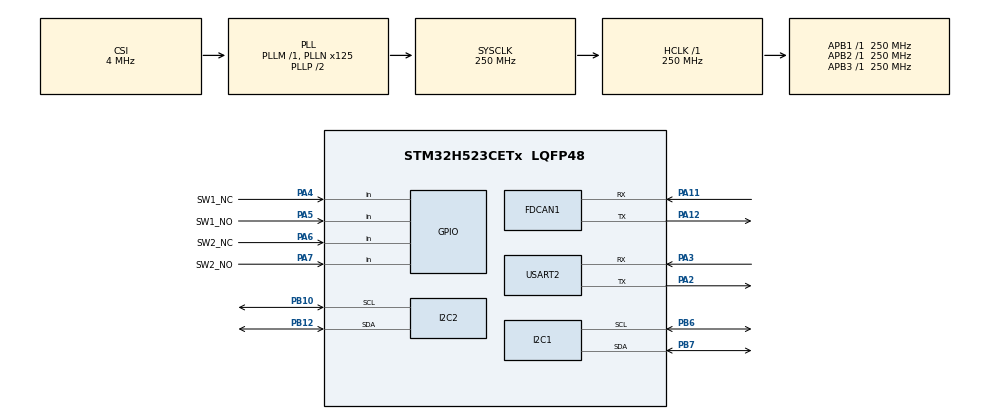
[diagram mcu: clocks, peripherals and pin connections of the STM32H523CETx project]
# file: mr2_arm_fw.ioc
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BOOTPATH.BootPathName=LEGACY
BOOTPATH.UserSelectedBootPath=LEGACY
CORTEX_M33_NS.userName=CORTEX_M33
FDCAN1.AutoRetransmission=ENABLE
FDCAN1.CalculateBaudRateNominal=1000000
FDCAN1.CalculateTimeBitNominal=1000
FDCAN1.CalculateTimeQuantumNominal=20.0
FDCAN1.NominalPrescaler=5
FDCAN1.NominalTimeSeg1=43
FDCAN1.NominalTimeSeg2=6
FDCAN1.TransmitPause=DISABLE
I2C1.Timing=0x60808CD3
I2C2.Timing=0x60808CD3
Mcu.Family=STM32H5
Mcu.Name=STM32H523CETx
Mcu.Package=LQFP48
NVIC.PriorityGroup=NVIC_PRIORITYGROUP_4
NVIC.TIM1_UP_IRQn=true\:0\:0\:false\:false\:true\:true\:true\:true
NVIC.TIM2_IRQn=true\:0\:0\:false\:false\:true\:true\:true\:true
PA11.Mode=FDCAN_Activate
PA11.Signal=FDCAN1_RX
PA12.Mode=FDCAN_Activate
PA12.Signal=FDCAN1_TX
PA13(JTMS/SWDIO).Mode=Trace_Asynchronous_SW
PA13(JTMS/SWDIO).Signal=DEBUG_JTMS-SWDIO
PA14(JTCK/SWCLK).Mode=Trace_Asynchronous_SW
PA14(JTCK/SWCLK).Signal=DEBUG_JTCK-SWCLK
PA2.Mode=Asynchronous
PA2.Signal=USART2_TX
PA3.Mode=Asynchronous
PA3.Signal=USART2_RX
PA4.GPIO_Label=SW1_NC
PA4.GPIO_PuPd=GPIO_PULLUP
PA4.Signal=GPIO_Input
PA5.GPIO_Label=SW1_NO
PA5.GPIO_PuPd=GPIO_PULLUP
PA5.Signal=GPIO_Input
PA6.GPIO_Label=SW2_NC
PA6.GPIO_PuPd=GPIO_PULLUP
PA6.Signal=GPIO_Input
PA7.GPIO_Label=SW2_NO
PA7.GPIO_PuPd=GPIO_PULLUP
PA7.Signal=GPIO_Input
PB10.GPIO_Pu=GPIO_PULLUP
PB10.Mode=I2C
PB10.Signal=I2C2_SCL
PB12.GPIO_Pu=GPIO_PULLUP
PB12.Mode=I2C
PB12.Signal=I2C2_SDA
PB3(JTDO/TRACESWO).Mode=Trace_Asynchronous_SW
PB3(JTDO/TRACESWO).Signal=DEBUG_JTDO-SWO
PB6.GPIO_Pu=GPIO_PULLUP
PB6.Mode=I2C
PB6.Signal=I2C1_SCL
PB7.GPIO_Pu=GPIO_PULLUP
PB7.Mode=I2C
PB7.Signal=I2C1_SDA
PH0-OSC_IN(PH0).Mode=HSE-External-Oscillator
PH0-OSC_IN(PH0).Signal=RCC_OSC_IN
PH1-OSC_OUT(PH1).Mode=HSE-External-Oscillator
PH1-OSC_OUT(PH1).Signal=RCC_OSC_OUT
ProjectManager.HeapSize=0x200
ProjectManager.StackSize=0x400
ProjectManager.TargetToolchain=CMake
RCC.ADCFreq_Value=250000000
RCC.AHBFreq_Value=250000000
RCC.APB1Freq_Value=250000000
RCC.APB1TimFreq_Value=250000000
RCC.APB2Freq_Value=250000000
RCC.APB2TimFreq_Value=250000000
RCC.APB3Freq_Value=250000000
RCC.CSI_VALUE=4000000
RCC.CodegenConfigPeriph=true
RCC.CortexFreq_Value=250000000
RCC.DATA_CACHE_ENABLE=1
RCC.EPOD_VALUE=4000000
RCC.FDCANClockSelection=RCC_FDCANCLKSOURCE_PLL1Q
RCC.HCLKFreq_Value=250000000
RCC.HSE_VALUE=8000000
RCC.HSI48_VALUE=48000000
RCC.HSI_VALUE=64000000
RCC.INSTRUCTION_CACHE_ENABLE=1
RCC.LSE_Drive_CapabilityArg=+LSE_Drive_Capability
RCC.LSE_VALUE=0
RCC.LSIRC_VALUE=32000
RCC.PLL2FRACN=0
RCC.PLL3FRACN=0
RCC.PLLFRACN=0
RCC.PLLN=125
RCC.PREFETCH_ENABLE=0
RCC.PWREXT_OverDrive=PWREXT_OverDrive_DESACTIVATED
RCC.SYSCLKFreq_VALUE=250000000
RCC.SYSCLKSource=RCC_SYSCLKSOURCE_PLLCLK
RCC.USBFreq_Value=48000000
RCC.VCOOutputFreq_Value=500000000
TIM1.AutoReloadPreload=TIM_AUTORELOAD_PRELOAD_ENABLE
TIM1.PeriodNoDither=999
TIM1.Prescaler=24999
TIM2.PeriodNoDither=999
TIM2.Prescaler=499
USART2.VirtualMode-Asynchronous=VM_ASYNC
VP_BOOTPATH_VS_BOOTPATH.Mode=BP_Activate
VP_CORTEX_M33_NS_VS_Hclk.Mode=Hclk_Mode
VP_ICACHE_VS_ICACHE.Mode=DirectMappedCache
VP_MEMORYMAP_VS_MEMORYMAP.Mode=CurAppReg
VP_PWR_VS_LPOM.Mode=PowerOptimisation
VP_PWR_VS_SECSignals.Mode=Security/Privilege
VP_TIM1_VS_ClockSourceINT.Mode=Internal
VP_TIM2_VS_ClockSourceINT.Mode=Internal
board=custom

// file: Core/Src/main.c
/* USER CODE BEGIN Header */
/**
 ******************************************************************************
 * @file           : main.c
 * @brief          : Main program body
 ******************************************************************************
 * @attention
 *
 * Copyright (c) 2025 STMicroelectronics.
 * All rights reserved.
 *
 * This software is licensed under terms that can be found in the LICENSE file
 * in the root directory of this software component.
 * If no LICENSE file comes with this software, it is provided AS-IS.
 *
 ******************************************************************************
 */
/* USER CODE END Header */
#include "main.h"

/* USER CODE BEGIN Includes */
#include "app_can.h"
#include "app_config.h"
#include "app_encoder.h"
#include "app_limit_switch.h"
#include <stdio.h>
/* USER CODE END Includes */

FDCAN_HandleTypeDef hfdcan1;

I2C_HandleTypeDef hi2c1;
I2C_HandleTypeDef hi2c2;

TIM_HandleTypeDef htim1;
TIM_HandleTypeDef htim2;

UART_HandleTypeDef huart2;

/* USER CODE BEGIN PV */
static AppConfig g_app_config;
/* USER CODE END PV */

void SystemClock_Config(void);
static void MX_GPIO_Init(void);
static void MX_I2C1_Init(void);
static void MX_I2C2_Init(void);
static void MX_ICACHE_Init(void);
static void MX_FDCAN1_Init(void);
static void MX_USART2_UART_Init(void);
static void MX_TIM1_Init(void);
static void MX_TIM2_Init(void);

/* USER CODE BEGIN 0 */
/* Expose a non-generated FDCAN reinit entry point for app_can.c */
void App_FDCAN1_Reinit(void) { MX_FDCAN1_Init(); }
/* USER CODE END 0 */

int main(void) {

  /* MCU Configuration--------------------------------------------------------*/

  /* Reset of all peripherals, Initializes the Flash interface and the Systick.
   */
  HAL_Init();

  /* USER CODE BEGIN Init */

  printf("Starting board!\n");

  /* Populate runtime config (defaults for now; extend to load from NVM or
   * DIP switches as needed). */
  AppConfig_InitDefaults(&g_app_config);
  /* Requested setup: SW1 on ID 204, Encoder1 on ID 205,
   * SW2 on ID 206; Encoder2 left disabled. */
  g_app_config.enable_sw1 = 1u;
  g_app_config.enable_encoder1 = 1u;
  g_app_config.enable_sw2 = 1u;
  g_app_config.enable_encoder2 = 0u;
  g_app_config.can_id_sw1 = 204u;
  g_app_config.can_id_encoder1 = 205u;
  g_app_config.can_id_sw2 = 206u;
  g_app_config.can_id_encoder2 = 0u;
  (void)AppConfig_Set(&g_app_config);

  /* USER CODE END Init */

  /* Configure the system clock */
  SystemClock_Config();

  /* Initialize all configured peripherals */
  MX_GPIO_Init();
  MX_I2C1_Init();
  MX_I2C2_Init();
  MX_ICACHE_Init();
  MX_FDCAN1_Init();
  MX_USART2_UART_Init();
  MX_TIM1_Init();
  MX_TIM2_Init();
  /* USER CODE BEGIN 2 */
  AppCAN_Init();
  AppEncoder_Init();
  AppLimitSwitch_Init();
  AppEncoder_ApplyConfig(AppConfig_Get());
  AppLimitSwitch_ApplyConfig(AppConfig_Get());
  if (HAL_FDCAN_ActivateNotification(&hfdcan1, FDCAN_IT_BUS_OFF, 0U) !=
      HAL_OK) {
    Error_Handler();
  }
  if (HAL_FDCAN_Start(&hfdcan1) != HAL_OK) {
    Error_Handler();
  }
  if (HAL_TIM_Base_Start_IT(&htim1) != HAL_OK) {
    Error_Handler();
  }
  if (HAL_TIM_Base_Start_IT(&htim2) != HAL_OK) {
    Error_Handler();
  }
  AppEncoder_RequestMeasurement();
  (void)AppEncoder_Service();
  AppCAN_ServiceBusOff();
  AppLimitSwitch_Poll();
  /* USER CODE END 2 */

  /* Infinite loop */
  while (1) {

    /* USER CODE BEGIN 3 */
    AppLimitSwitch_Service();
    AppCAN_ServiceBusOff();

    if (AppEncoder_Service()) {
      AppCAN_ServiceBusOff();
      continue;
    }

    if (AppLimitSwitch_HasPending()) {
      continue;
    }

    __WFI();
  }
  /* USER CODE END 3 */
}

void SystemClock_Config(void) {
  RCC_OscInitTypeDef RCC_OscInitStruct = {0};
  RCC_ClkInitTypeDef RCC_ClkInitStruct = {0};

  /** Configure the main internal regulator output voltage
   */
  __HAL_PWR_VOLTAGESCALING_CONFIG(PWR_REGULATOR_VOLTAGE_SCALE0);

  while (!__HAL_PWR_GET_FLAG(PWR_FLAG_VOSRDY)) {
  }

  /** Initializes the RCC Oscillators according to the specified parameters
   * in the RCC_OscInitTypeDef structure.
   */
  RCC_OscInitStruct.OscillatorType = RCC_OSCILLATORTYPE_CSI;
  RCC_OscInitStruct.CSIState = RCC_CSI_ON;
  RCC_OscInitStruct.CSICalibrationValue = RCC_CSICALIBRATION_DEFAULT;
  RCC_OscInitStruct.PLL.PLLState = RCC_PLL_ON;
  RCC_OscInitStruct.PLL.PLLSource = RCC_PLL1_SOURCE_CSI;
  RCC_OscInitStruct.PLL.PLLM = 1;
  RCC_OscInitStruct.PLL.PLLN = 125;
  RCC_OscInitStruct.PLL.PLLP = 2;
  RCC_OscInitStruct.PLL.PLLQ = 2;
  RCC_OscInitStruct.PLL.PLLR = 2;
  RCC_OscInitStruct.PLL.PLLRGE = RCC_PLL1_VCIRANGE_2;
  RCC_OscInitStruct.PLL.PLLVCOSEL = RCC_PLL1_VCORANGE_WIDE;
  RCC_OscInitStruct.PLL.PLLFRACN = 0;
  if (HAL_RCC_OscConfig(&RCC_OscInitStruct) != HAL_OK) {
    Error_Handler();
  }

  /** Initializes the CPU, AHB and APB buses clocks
   */
  RCC_ClkInitStruct.ClockType = RCC_CLOCKTYPE_HCLK | RCC_CLOCKTYPE_SYSCLK |
                                RCC_CLOCKTYPE_PCLK1 | RCC_CLOCKTYPE_PCLK2 |
                                RCC_CLOCKTYPE_PCLK3;
  RCC_ClkInitStruct.SYSCLKSource = RCC_SYSCLKSOURCE_PLLCLK;
  RCC_ClkInitStruct.AHBCLKDivider = RCC_SYSCLK_DIV1;
  RCC_ClkInitStruct.APB1CLKDivider = RCC_HCLK_DIV1;
  RCC_ClkInitStruct.APB2CLKDivider = RCC_HCLK_DIV1;
  RCC_ClkInitStruct.APB3CLKDivider = RCC_HCLK_DIV1;

  if (HAL_RCC_ClockConfig(&RCC_ClkInitStruct, FLASH_LATENCY_5) != HAL_OK) {
    Error_Handler();
  }

  /** Configure the programming delay
   */
  __HAL_FLASH_SET_PROGRAM_DELAY(FLASH_PROGRAMMING_DELAY_2);
}

static void MX_FDCAN1_Init(void) {

  hfdcan1.Instance = FDCAN1;
  hfdcan1.Init.ClockDivider = FDCAN_CLOCK_DIV1;
  hfdcan1.Init.FrameFormat = FDCAN_FRAME_CLASSIC;
  hfdcan1.Init.Mode = FDCAN_MODE_NORMAL;
  hfdcan1.Init.AutoRetransmission = ENABLE;
  hfdcan1.Init.TransmitPause = DISABLE;
  hfdcan1.Init.ProtocolException = DISABLE;
  hfdcan1.Init.NominalPrescaler = 5;
  hfdcan1.Init.NominalSyncJumpWidth = 1;
  hfdcan1.Init.NominalTimeSeg1 = 43;
  hfdcan1.Init.NominalTimeSeg2 = 6;
  hfdcan1.Init.DataPrescaler = 1;
  hfdcan1.Init.DataSyncJumpWidth = 1;
  hfdcan1.Init.DataTimeSeg1 = 1;
  hfdcan1.Init.DataTimeSeg2 = 1;
  hfdcan1.Init.StdFiltersNbr = 1;
  hfdcan1.Init.ExtFiltersNbr = 1;
  hfdcan1.Init.TxFifoQueueMode = FDCAN_TX_FIFO_OPERATION;
  if (HAL_FDCAN_Init(&hfdcan1) != HAL_OK) {
    Error_Handler();
  }
  /* USER CODE BEGIN FDCAN1_Init 2 */
  FDCAN_FilterTypeDef filter = {0};
  filter.IdType = FDCAN_STANDARD_ID;
  filter.FilterIndex = 0;
  filter.FilterType = FDCAN_FILTER_RANGE;
  filter.FilterConfig = FDCAN_FILTER_TO_RXFIFO0;
  filter.FilterID1 = 0x000;
  filter.FilterID2 = 0x7FF;
  if (HAL_FDCAN_ConfigFilter(&hfdcan1, &filter) != HAL_OK) {
    Error_Handler();
  }
  FDCAN_FilterTypeDef ext_filter = {0};
  ext_filter.IdType = FDCAN_EXTENDED_ID;
  ext_filter.FilterIndex = 0;
  ext_filter.FilterType = FDCAN_FILTER_RANGE_NO_EIDM;
  ext_filter.FilterConfig = FDCAN_FILTER_TO_RXFIFO0;
  ext_filter.FilterID1 = 0x00000000;
  ext_filter.FilterID2 = 0x1FFFFFFF;
  if (HAL_FDCAN_ConfigFilter(&hfdcan1, &ext_filter) != HAL_OK) {
    Error_Handler();
  }
  if (HAL_FDCAN_ConfigGlobalFilter(
          &hfdcan1, FDCAN_ACCEPT_IN_RX_FIFO0, FDCAN_ACCEPT_IN_RX_FIFO0,
          FDCAN_ACCEPT_IN_RX_FIFO0, FDCAN_ACCEPT_IN_RX_FIFO0) != HAL_OK) {
    Error_Handler();
  }

  /* USER CODE END FDCAN1_Init 2 */
}

static void MX_I2C1_Init(void) {

  hi2c1.Instance = I2C1;
  hi2c1.Init.Timing = 0x60808CD3;
  hi2c1.Init.OwnAddress1 = 0;
  hi2c1.Init.AddressingMode = I2C_ADDRESSINGMODE_7BIT;
  hi2c1.Init.DualAddressMode = I2C_DUALADDRESS_DISABLE;
  hi2c1.Init.OwnAddress2 = 0;
  hi2c1.Init.OwnAddress2Masks = I2C_OA2_NOMASK;
  hi2c1.Init.GeneralCallMode = I2C_GENERALCALL_DISABLE;
  hi2c1.Init.NoStretchMode = I2C_NOSTRETCH_DISABLE;
  if (HAL_I2C_Init(&hi2c1) != HAL_OK) {
    Error_Handler();
  }

  /** Configure Analogue filter
   */
  if (HAL_I2CEx_ConfigAnalogFilter(&hi2c1, I2C_ANALOGFILTER_ENABLE) != HAL_OK) {
    Error_Handler();
  }

  /** Configure Digital filter
   */
  if (HAL_I2CEx_ConfigDigitalFilter(&hi2c1, 0) != HAL_OK) {
    Error_Handler();
  }
}

static void MX_I2C2_Init(void) {

  hi2c2.Instance = I2C2;
  hi2c2.Init.Timing = 0x60808CD3;
  hi2c2.Init.OwnAddress1 = 0;
  hi2c2.Init.AddressingMode = I2C_ADDRESSINGMODE_7BIT;
  hi2c2.Init.DualAddressMode = I2C_DUALADDRESS_DISABLE;
  hi2c2.Init.OwnAddress2 = 0;
  hi2c2.Init.OwnAddress2Masks = I2C_OA2_NOMASK;
  hi2c2.Init.GeneralCallMode = I2C_GENERALCALL_DISABLE;
  hi2c2.Init.NoStretchMode = I2C_NOSTRETCH_DISABLE;
  if (HAL_I2C_Init(&hi2c2) != HAL_OK) {
    Error_Handler();
  }

  /** Configure Analogue filter
   */
  if (HAL_I2CEx_ConfigAnalogFilter(&hi2c2, I2C_ANALOGFILTER_ENABLE) != HAL_OK) {
    Error_Handler();
  }

  /** Configure Digital filter
   */
  if (HAL_I2CEx_ConfigDigitalFilter(&hi2c2, 0) != HAL_OK) {
    Error_Handler();
  }
}

static void MX_ICACHE_Init(void) {

  /** Enable instruction cache in 1-way (direct mapped cache)
   */
  if (HAL_ICACHE_ConfigAssociativityMode(ICACHE_1WAY) != HAL_OK) {
    Error_Handler();
  }
  if (HAL_ICACHE_Enable() != HAL_OK) {
    Error_Handler();
  }
}

static void MX_TIM1_Init(void) {

  TIM_ClockConfigTypeDef sClockSourceConfig = {0};
  TIM_MasterConfigTypeDef sMasterConfig = {0};

  htim1.Instance = TIM1;
  htim1.Init.Prescaler = 24999;
  htim1.Init.CounterMode = TIM_COUNTERMODE_UP;
  htim1.Init.Period = 999;
  htim1.Init.ClockDivision = TIM_CLOCKDIVISION_DIV1;
  htim1.Init.RepetitionCounter = 0;
  htim1.Init.AutoReloadPreload = TIM_AUTORELOAD_PRELOAD_ENABLE;
  if (HAL_TIM_Base_Init(&htim1) != HAL_OK) {
    Error_Handler();
  }
  sClockSourceConfig.ClockSource = TIM_CLOCKSOURCE_INTERNAL;
  if (HAL_TIM_ConfigClockSource(&htim1, &sClockSourceConfig) != HAL_OK) {
    Error_Handler();
  }
  sMasterConfig.MasterOutputTrigger = TIM_TRGO_RESET;
  sMasterConfig.MasterOutputTrigger2 = TIM_TRGO2_RESET;
  sMasterConfig.MasterSlaveMode = TIM_MASTERSLAVEMODE_DISABLE;
  if (HAL_TIMEx_MasterConfigSynchronization(&htim1, &sMasterConfig) != HAL_OK) {
    Error_Handler();
  }
}

static void MX_TIM2_Init(void) {

  TIM_ClockConfigTypeDef sClockSourceConfig = {0};
  TIM_MasterConfigTypeDef sMasterConfig = {0};

  htim2.Instance = TIM2;
  htim2.Init.Prescaler = 499;
  htim2.Init.CounterMode = TIM_COUNTERMODE_UP;
  htim2.Init.Period = 999;
  htim2.Init.ClockDivision = TIM_CLOCKDIVISION_DIV1;
  htim2.Init.AutoReloadPreload = TIM_AUTORELOAD_PRELOAD_DISABLE;
  if (HAL_TIM_Base_Init(&htim2) != HAL_OK) {
    Error_Handler();
  }
  sClockSourceConfig.ClockSource = TIM_CLOCKSOURCE_INTERNAL;
  if (HAL_TIM_ConfigClockSource(&htim2, &sClockSourceConfig) != HAL_OK) {
    Error_Handler();
  }
  sMasterConfig.MasterOutputTrigger = TIM_TRGO_RESET;
  sMasterConfig.MasterSlaveMode = TIM_MASTERSLAVEMODE_DISABLE;
  if (HAL_TIMEx_MasterConfigSynchronization(&htim2, &sMasterConfig) != HAL_OK) {
    Error_Handler();
  }
}

static void MX_USART2_UART_Init(void) {

  huart2.Instance = USART2;
  huart2.Init.BaudRate = 115200;
  huart2.Init.WordLength = UART_WORDLENGTH_8B;
  huart2.Init.StopBits = UART_STOPBITS_1;
  huart2.Init.Parity = UART_PARITY_NONE;
  huart2.Init.Mode = UART_MODE_TX_RX;
  huart2.Init.HwFlowCtl = UART_HWCONTROL_NONE;
  huart2.Init.OverSampling = UART_OVERSAMPLING_16;
  huart2.Init.OneBitSampling = UART_ONE_BIT_SAMPLE_DISABLE;
  huart2.Init.ClockPrescaler = UART_PRESCALER_DIV1;
  huart2.AdvancedInit.AdvFeatureInit = UART_ADVFEATURE_NO_INIT;
  if (HAL_UART_Init(&huart2) != HAL_OK) {
    Error_Handler();
  }
  if (HAL_UARTEx_SetTxFifoThreshold(&huart2, UART_TXFIFO_THRESHOLD_1_8) !=
      HAL_OK) {
    Error_Handler();
  }
  if (HAL_UARTEx_SetRxFifoThreshold(&huart2, UART_RXFIFO_THRESHOLD_1_8) !=
      HAL_OK) {
    Error_Handler();
  }
  if (HAL_UARTEx_DisableFifoMode(&huart2) != HAL_OK) {
    Error_Handler();
  }
}

static void MX_GPIO_Init(void) {
  GPIO_InitTypeDef GPIO_InitStruct = {0};

  /* GPIO Ports Clock Enable */
  __HAL_RCC_GPIOH_CLK_ENABLE();
  __HAL_RCC_GPIOA_CLK_ENABLE();
  __HAL_RCC_GPIOB_CLK_ENABLE();

  /*Configure GPIO pins : SW1_NC_Pin SW1_NO_Pin SW2_NC_Pin SW2_NO_Pin */
  GPIO_InitStruct.Pin = SW1_NC_Pin | SW1_NO_Pin | SW2_NC_Pin | SW2_NO_Pin;
  GPIO_InitStruct.Mode = GPIO_MODE_INPUT;
  GPIO_InitStruct.Pull = GPIO_PULLUP;
  HAL_GPIO_Init(GPIOA, &GPIO_InitStruct);

}

/* USER CODE BEGIN 4 */
void HAL_TIM_PeriodElapsedCallback(TIM_HandleTypeDef *htim) {
  if (htim->Instance == TIM1) {
    AppEncoder_OnSchedulerTick();
  } else if (htim->Instance == TIM2) {
    AppLimitSwitch_Poll();
  }
}

void HAL_FDCAN_ErrorStatusCallback(FDCAN_HandleTypeDef *hfdcan,
                                   uint32_t ErrorStatusITs) {
  if (hfdcan == &hfdcan1) {
    AppCAN_HandleErrorStatus(ErrorStatusITs);
  }
}

/* USER CODE END 4 */

void Error_Handler(void) {
  /* USER CODE BEGIN Error_Handler_Debug */
  /* Log fault context before performing a system reset */
  uint32_t tick = HAL_GetTick();
  printf("Error_Handler invoked at %lu ms, resetting MCU\r\n",
         (unsigned long)tick);
  fflush(stdout);
  __disable_irq();
  NVIC_SystemReset();
  while (1) {
  }
  /* USER CODE END Error_Handler_Debug */
}
#ifdef USE_FULL_ASSERT
/**
 * @brief  Reports the name of the source file and the source line number
 *         where the assert_param error has occurred.
 * @param  file: pointer to the source file name
 * @param  line: assert_param error line source number
 * @retval None
 */
void assert_failed(uint8_t *file, uint32_t line) {
  /* USER CODE BEGIN 6 */
  /* User can add his own implementation to report the file name and line
     number, ex: printf("Wrong parameters value: file %s on line %d\r\n", file,
     line) */
  /* USER CODE END 6 */
}
#endif /* USE_FULL_ASSERT */
